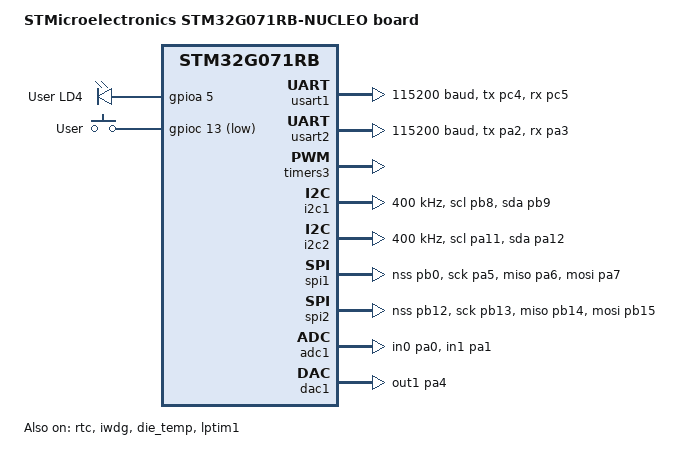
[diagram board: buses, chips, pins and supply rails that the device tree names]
/*
 * Copyright (c) 2019 Philippe Retornaz <philippe@shapescale.com>
 * Copyright (c) 2019 STMicroelectronics
 *
 * SPDX-License-Identifier: Apache-2.0
 */

/dts-v1/;
#include <st/g0/stm32g071Xb.dtsi>
#include <st/g0/stm32g071r(6-8-b)tx-pinctrl.dtsi>
#include "arduino_r3_connector.dtsi"

/ {
	model = "STMicroelectronics STM32G071RB-NUCLEO board";
	compatible = "st,stm32g071rb-nucleo";

	chosen {
		zephyr,console = &usart2;
		zephyr,shell-uart = &usart2;
		zephyr,sram = &sram0;
		zephyr,flash = &flash0;
	};

	power-states {
		stop0: state0 {
			compatible = "zephyr,power-state";
			power-state-name = "suspend-to-idle";
			substate-id = <1>;
			min-residency-us = <20>;
		};
		stop1: state1 {
			compatible = "zephyr,power-state";
			power-state-name = "suspend-to-idle";
			substate-id = <2>;
			min-residency-us = <100>;
		};
	};

	leds {
		compatible = "gpio-leds";
		green_led_1: led_4 {
			gpios = <&gpioa 5 GPIO_ACTIVE_HIGH>;
			label = "User LD4";
		};
	};

	gpio_keys {
		compatible = "gpio-keys";
		user_button: button {
			label = "User";
			gpios = <&gpioc 13 GPIO_ACTIVE_LOW>;
		};
	};

	aliases {
		led0 = &green_led_1;
		sw0 = &user_button;
		watchdog0 = &iwdg;
	};
};

&clk_lsi {
	status = "okay";
};

&clk_hsi {
	status = "okay";
};

&pll {
	div-m = <1>;
	mul-n = <8>;
	div-p = <2>;
	div-q = <2>;
	div-r = <2>;
	clocks = <&clk_hsi>;
	status = "okay";
};

&rcc {
	clocks = <&pll>;
	clock-frequency = <DT_FREQ_M(64)>;
	ahb-prescaler = <1>;
	apb1-prescaler = <1>;
};

&usart1 {
	pinctrl-0 = <&usart1_tx_pc4 &usart1_rx_pc5>;
	pinctrl-names = "default";
	current-speed = <115200>;
	status = "okay";
};

&usart2 {
	pinctrl-0 = <&usart2_tx_pa2 &usart2_rx_pa3>;
	pinctrl-names = "default";
	current-speed = <115200>;
	status = "okay";
};

&rtc {
	status = "okay";
};

&iwdg {
	status = "okay";
};

&timers3 {
	st,prescaler = <10000>;
	status = "okay";
	pwm3: pwm {
		status = "okay";
		pinctrl-0 = <&tim3_ch1_pa6>;
		pinctrl-names = "default";
	};
};

&i2c1 {
	pinctrl-0 = <&i2c1_scl_pb8 &i2c1_sda_pb9>;
	pinctrl-names = "default";
	status = "okay";
	clock-frequency = <I2C_BITRATE_FAST>;
};

&i2c2 {
	pinctrl-0 = <&i2c2_scl_pa11 &i2c2_sda_pa12>;
	pinctrl-names = "default";
	status = "okay";
	clock-frequency = <I2C_BITRATE_FAST>;
};

&spi1 {
	pinctrl-0 = <&spi1_nss_pb0 &spi1_sck_pa5
		     &spi1_miso_pa6 &spi1_mosi_pa7>;
	pinctrl-names = "default";
	status = "okay";
};

&spi2 {
	pinctrl-0 = <&spi2_nss_pb12 &spi2_sck_pb13
		     &spi2_miso_pb14 &spi2_mosi_pb15>;
	pinctrl-names = "default";
	status = "okay";
};

&adc1 {
	pinctrl-0 = <&adc1_in0_pa0 &adc1_in1_pa1>;
	pinctrl-names = "default";
	status = "okay";
	vref-mv = <3300>;
};

&dac1 {
	status = "okay";
	pinctrl-0 = <&dac1_out1_pa4>;
	pinctrl-names = "default";
};

&die_temp {
	status = "okay";
};

&flash0 {
	partitions {
		compatible = "fixed-partitions";
		#address-cells = <1>;
		#size-cells = <1>;

		/* Set 2KB of storage at the end of 128KB flash */
		storage_partition: partition@1f800 {
			label = "storage";
			reg = <0x0001f800 DT_SIZE_K(2)>;
		};
	};
};

&cpu0 {
	cpu-power-states = <&stop0 &stop1>;
};

&lptim1 {
	clocks = <&rcc STM32_CLOCK_BUS_APB1 0x80000000>,
		 <&rcc STM32_SRC_LSI LPTIM1_SEL(1)>;
	status = "okay";
};
